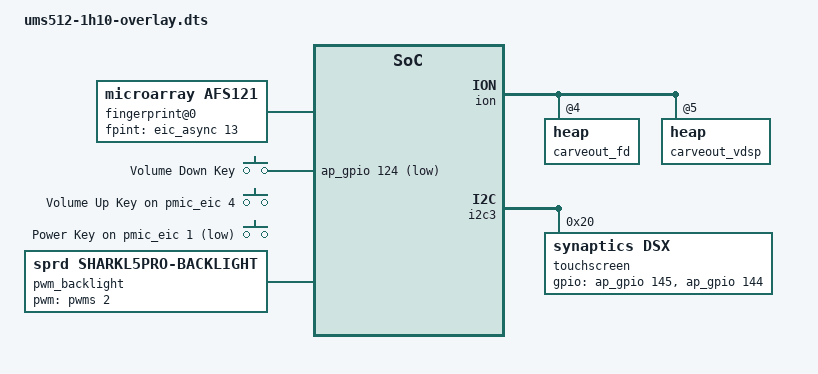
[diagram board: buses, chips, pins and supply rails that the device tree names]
/dts-v1/;
/plugin/;

#include <dt-bindings/input/input.h>
#include <dt-bindings/gpio/gpio.h>

/ {
	fragment {
		target-path = "/";
		__overlay__ {
			sprd-wlan {
				compatible = "sprd,sc2355-wifi";
			};

			fingerprint@0 {
				compatible = "microarray,afs121";
				fpint-gpios = <&eic_async 13 0>;
			};

			gpio-keys {
				compatible = "gpio-keys";

				key-volumedown {
					label = "Volume Down Key";
					linux,code = <KEY_VOLUMEDOWN>;
					gpios = <&ap_gpio 124 GPIO_ACTIVE_LOW>;
					debounce-interval = <2>;
					wakeup-source;
				};

				key-volumeup {
					label = "Volume Up Key";
					linux,code = <KEY_VOLUMEUP>;
					gpios = <&pmic_eic 4 GPIO_ACTIVE_HIGH>;
					debounce-interval = <2>;
					wakeup-source;
				};

				key-power {
					label = "Power Key";
					linux,code = <KEY_POWER>;
					gpios = <&pmic_eic 1 GPIO_ACTIVE_LOW>;
					debounce-interval = <2>;
					wakeup-source;
				};
			};

			pwm_backlight: backlight {
				compatible = "sprd,sharkl5pro-backlight";
				pwms = <&pwms 2 40000>;
				pwm-names = "backlight";
				sprd,max-brightness-level = <880>;
				default-brightness-level = <115>;
				sprd,brightness-scale = <1023>;
			};
		};
	};

};

&reserved_memory {

	fd_reserved: faceid-mem@efaae000 {
		reg = <0x0 0xefaae000 0x0 0x00f00000>;
	};

	vdsp_reserved: vdsp-mem@f09ae000 {
		reg = <0x0 0xf09ae000 0x0 0x03700000>;
	};
/*
	gpu_reserved: gpu-mem@fb8ae000 {
		reg = <0x0 0xfb8ae000 0x0 0x01e5a000>;
	};
*/
};

&ion {
	heap@4 {
		reg = <4>;
		label = "carveout_fd";
		type = <2>;
		memory-region = <&fd_reserved>;
	};

	heap@5 {
		reg = <5>;
		label = "carveout_vdsp";
		type = <2>;
		memory-region = <&vdsp_reserved>;
	};
};

&i2c3 {
	status = "okay";

	touchscreen@20 {
		compatible = "synaptics,dsx";
		reg = <0x20>;
		gpios = <&ap_gpio 145 GPIO_ACTIVE_HIGH
			&ap_gpio 144 GPIO_ACTIVE_HIGH>;
	};
};

&panel {
	sprd,backlight = <&pwm_backlight>;
};

&dpu {
	sprd,backlight = <&pwm_backlight>;
};

&ddr_dfs {
	sprd-scene = "boost", "lcdon", "lcdoff", "camlow",
		"camhigh", "camveryhigh", "faceid";
	sprd-freq = <1333 768 256 384 512 1333 1333>;
};
